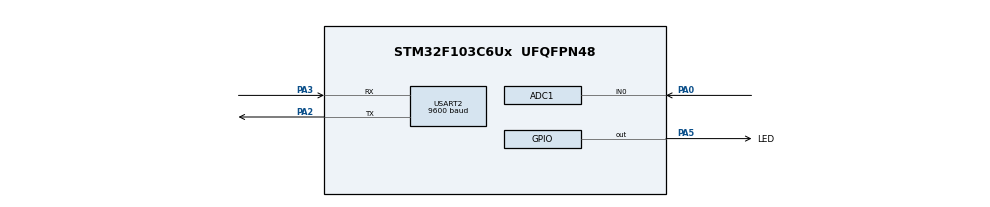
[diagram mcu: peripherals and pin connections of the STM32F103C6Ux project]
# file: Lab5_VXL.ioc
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ADC1.Channel-0\#ChannelRegularConversion=ADC_CHANNEL_0
ADC1.ContinuousConvMode=ENABLE
ADC1.NbrOfConversionFlag=1
ADC1.Rank-0\#ChannelRegularConversion=1
ADC1.SamplingTime-0\#ChannelRegularConversion=ADC_SAMPLETIME_1CYCLE_5
ADC1.master=1
Mcu.Family=STM32F1
Mcu.Name=STM32F103C6Ux
Mcu.Package=UFQFPN48
NVIC.PriorityGroup=NVIC_PRIORITYGROUP_4
NVIC.USART2_IRQn=true\:0\:0\:false\:false\:true\:true\:true\:true
PA0-WKUP.Signal=ADCx_IN0
PA2.Mode=Asynchronous
PA2.Signal=USART2_TX
PA3.Mode=Asynchronous
PA3.Signal=USART2_RX
PA5.GPIO_Label=LED
PA5.Signal=GPIO_Output
ProjectManager.HeapSize=0x200
ProjectManager.StackSize=0x400
ProjectManager.TargetToolchain=STM32CubeIDE
RCC.APB1Freq_Value=8000000
RCC.APB2Freq_Value=8000000
SH.ADCx_IN0.0=ADC1_IN0,IN0
USART2.BaudRate=9600
USART2.VirtualMode=VM_ASYNC
board=custom

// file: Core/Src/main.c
/* USER CODE BEGIN Header */
/**
  ******************************************************************************
  * @file           : main.c
  * @brief          : Main program body
  ******************************************************************************
  * @attention
  *
  * Copyright (c) 2023 STMicroelectronics.
  * All rights reserved.
  *
  * This software is licensed under terms that can be found in the LICENSE file
  * in the root directory of this software component.
  * If no LICENSE file comes with this software, it is provided AS-IS.
  *
  ******************************************************************************
  */
/* USER CODE END Header */
#include "main.h"

ADC_HandleTypeDef hadc1;

UART_HandleTypeDef huart2;

void SystemClock_Config(void);
static void MX_GPIO_Init(void);
static void MX_ADC1_Init(void);
static void MX_USART2_UART_Init(void);

/* USER CODE BEGIN 0 */
uint8_t is_begin_buffer = 0;
uint8_t buffer[MAX_SIZE_BUFFER];
uint8_t index_buffer;
uint8_t temp = 0;
uint8_t buffer_flag = 0 ;

void HAL_UART_RxCpltCallback(UART_HandleTypeDef *huart){
	if(huart->Instance == USART2){

		HAL_UART_Transmit(&huart2, &temp, 1, 50);
		buffer[index_buffer++] = temp;
		if(index_buffer == MAX_SIZE_BUFFER) index_buffer = 0;
		if(temp == '!'){
			is_begin_buffer = 1 ;
		}
		if(temp == '#' && is_begin_buffer){
			is_begin_buffer = 0;
			buffer_flag = 1;
		}
		HAL_UART_Receive_IT(&huart2, &temp, 1);
	}
}
/* USER CODE END 0 */

int main(void)
{

  /* MCU Configuration--------------------------------------------------------*/

  /* Reset of all peripherals, Initializes the Flash interface and the Systick. */
  HAL_Init();

  /* Configure the system clock */
  SystemClock_Config();

  /* Initialize all configured peripherals */
  MX_GPIO_Init();
  MX_ADC1_Init();
  MX_USART2_UART_Init();
  /* USER CODE BEGIN 2 */
  HAL_UART_Receive_IT(&huart2, &temp, 1);
  HAL_ADC_Start(&hadc1);

  index_buffer = 0 ;
  /* USER CODE END 2 */

  /* Infinite loop */
  /* USER CODE BEGIN WHILE */
  while (1)
  {

	  if(buffer_flag == 1) {//receive full command "!data#"
		  command_parser_fsm();//set flag if command is valid
		  buffer_flag = 0;
	  }
	  uart_communiation_fsm();
	  //read ADC if flag is set
    /* USER CODE END WHILE */

  }
}

void SystemClock_Config(void)
{
  RCC_OscInitTypeDef RCC_OscInitStruct = {0};
  RCC_ClkInitTypeDef RCC_ClkInitStruct = {0};
  RCC_PeriphCLKInitTypeDef PeriphClkInit = {0};

  /** Initializes the RCC Oscillators according to the specified parameters
  * in the RCC_OscInitTypeDef structure.
  */
  RCC_OscInitStruct.OscillatorType = RCC_OSCILLATORTYPE_HSI;
  RCC_OscInitStruct.HSIState = RCC_HSI_ON;
  RCC_OscInitStruct.HSICalibrationValue = RCC_HSICALIBRATION_DEFAULT;
  RCC_OscInitStruct.PLL.PLLState = RCC_PLL_NONE;
  if (HAL_RCC_OscConfig(&RCC_OscInitStruct) != HAL_OK)
  {
    Error_Handler();
  }

  /** Initializes the CPU, AHB and APB buses clocks
  */
  RCC_ClkInitStruct.ClockType = RCC_CLOCKTYPE_HCLK|RCC_CLOCKTYPE_SYSCLK
                              |RCC_CLOCKTYPE_PCLK1|RCC_CLOCKTYPE_PCLK2;
  RCC_ClkInitStruct.SYSCLKSource = RCC_SYSCLKSOURCE_HSI;
  RCC_ClkInitStruct.AHBCLKDivider = RCC_SYSCLK_DIV1;
  RCC_ClkInitStruct.APB1CLKDivider = RCC_HCLK_DIV1;
  RCC_ClkInitStruct.APB2CLKDivider = RCC_HCLK_DIV1;

  if (HAL_RCC_ClockConfig(&RCC_ClkInitStruct, FLASH_LATENCY_0) != HAL_OK)
  {
    Error_Handler();
  }
  PeriphClkInit.PeriphClockSelection = RCC_PERIPHCLK_ADC;
  PeriphClkInit.AdcClockSelection = RCC_ADCPCLK2_DIV2;
  if (HAL_RCCEx_PeriphCLKConfig(&PeriphClkInit) != HAL_OK)
  {
    Error_Handler();
  }
}

static void MX_ADC1_Init(void)
{

  ADC_ChannelConfTypeDef sConfig = {0};

  /** Common config
  */
  hadc1.Instance = ADC1;
  hadc1.Init.ScanConvMode = ADC_SCAN_DISABLE;
  hadc1.Init.ContinuousConvMode = ENABLE;
  hadc1.Init.DiscontinuousConvMode = DISABLE;
  hadc1.Init.ExternalTrigConv = ADC_SOFTWARE_START;
  hadc1.Init.DataAlign = ADC_DATAALIGN_RIGHT;
  hadc1.Init.NbrOfConversion = 1;
  if (HAL_ADC_Init(&hadc1) != HAL_OK)
  {
    Error_Handler();
  }

  /** Configure Regular Channel
  */
  sConfig.Channel = ADC_CHANNEL_0;
  sConfig.Rank = ADC_REGULAR_RANK_1;
  sConfig.SamplingTime = ADC_SAMPLETIME_1CYCLE_5;
  if (HAL_ADC_ConfigChannel(&hadc1, &sConfig) != HAL_OK)
  {
    Error_Handler();
  }

}

static void MX_USART2_UART_Init(void)
{

  huart2.Instance = USART2;
  huart2.Init.BaudRate = 9600;
  huart2.Init.WordLength = UART_WORDLENGTH_8B;
  huart2.Init.StopBits = UART_STOPBITS_1;
  huart2.Init.Parity = UART_PARITY_NONE;
  huart2.Init.Mode = UART_MODE_TX_RX;
  huart2.Init.HwFlowCtl = UART_HWCONTROL_NONE;
  huart2.Init.OverSampling = UART_OVERSAMPLING_16;
  if (HAL_UART_Init(&huart2) != HAL_OK)
  {
    Error_Handler();
  }

}

static void MX_GPIO_Init(void)
{
  GPIO_InitTypeDef GPIO_InitStruct = {0};

  /* GPIO Ports Clock Enable */
  __HAL_RCC_GPIOA_CLK_ENABLE();

  /*Configure GPIO pin Output Level */
  HAL_GPIO_WritePin(LED_GPIO_Port, LED_Pin, GPIO_PIN_RESET);

  /*Configure GPIO pin : LED_Pin */
  GPIO_InitStruct.Pin = LED_Pin;
  GPIO_InitStruct.Mode = GPIO_MODE_OUTPUT_PP;
  GPIO_InitStruct.Pull = GPIO_NOPULL;
  GPIO_InitStruct.Speed = GPIO_SPEED_FREQ_LOW;
  HAL_GPIO_Init(LED_GPIO_Port, &GPIO_InitStruct);

}

void Error_Handler(void)
{
  __disable_irq();
  while (1)
  {
  }
}
